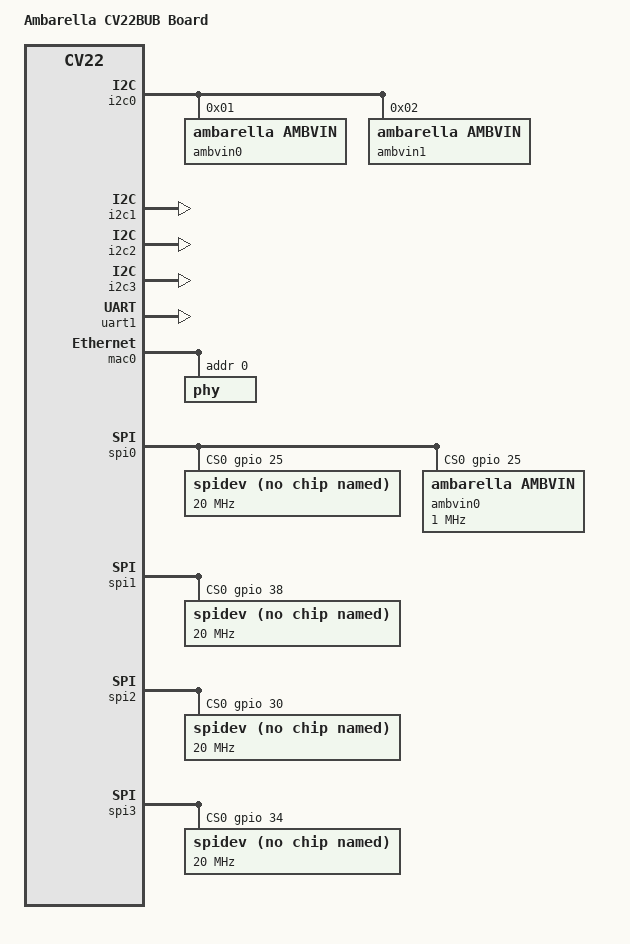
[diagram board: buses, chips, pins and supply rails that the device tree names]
/*
 * Copyright (C) 2013 Ambarella,Inc. - http://www.ambarella.com/
 * Author: Cao Rongrong <rrcao@ambarella.com>
 *
 * This program is free software; you can redistribute it and/or modify
 * it under the terms of the GNU General Public License version 2 as
 * published by the Free Software Foundation.
 */
/dts-v1/;

/include/ "ambarella-cv22-amba-camera.dtsi"

/ {
	model = "Ambarella CV22BUB Board";
	compatible = "ambarella,cv22bub", "ambarella,cv22";

	aliases {
		flexidag_sys = &cv_sys_mem;
		flexidag_rtos = &cv_rtos_mem;
		scheduler = &sub_scheduler;
		dsp_prot_buf = &dsp_prot_buf;
		dsp_prot_cache_buf = &dsp_prot_cache_buf;
		dsp_bin_buf = &dsp_bin_buf;
		dsp_data_buf = &dsp_data_buf;
		dsp = &dsp;
	};

	chosen {
	};

	sub_scheduler: sub_scheduler0 {
		compatible = "ambarella,sub-scheduler";
		interrupts = <0 153 0x4>;
		memory-region = <&cv_sys_mem>;
		memory-region1 = <&cv_rtos_mem>;
	};

	dsp: dspdrv {
		compatible = "ambarella,dspdrv";
		memory-region = <&dsp_prot_buf>;
		memory-region1 = <&dsp_prot_cache_buf>;
		memory-region2 = <&dsp_bin_buf>;
		memory-region3 = <&dsp_data_buf>;
		interrupts = <0 141 0x1 0 142 0x1 0 143 0x1 0 144 0x1>;
        interrupt-names = "vdsp0", "vdsp1", "vdsp2", "vdsp3";

		/* node for vin0 controller */
		dspvin0 {
			compatible = "ambarella,dspvin";
			interrupts = <0 111 0x1 0 112 0x1>;
			interrupt-names = "arm_sof", "arm_last_pixel";
		};

		/* node for vin1 controller */
		dspvin1 {
			compatible = "ambarella,dspvin";
			interrupts = <0 136 0x1 0 137 0x1>;
			interrupt-names = "arm_sof", "arm_last_pixel";
		};

		/* node for vout0 controller */
		dspvout0 {
			compatible = "ambarella,dspvout";
			interrupts = <0 89 0x1>;
			interrupt-names = "arm_vout_a";
		};

		/* node for vout1 controller */
		dspvout1 {
			compatible = "ambarella,dspvout";
			interrupts = <0 88 0x1>;
			interrupt-names = "arm_vout_b";
		};
	};

	reserved-memory {
		device_type = "reserved-memory";
		cv_sys_mem: flexidag_sys {
		};
		cv_rtos_mem: flexidag_rtos {
		};
		dsp_prot_buf: dsp_prot_buf {
		};
		dsp_prot_cache_buf: dsp_prot_cache_buf {
		};
		dsp_bin_buf: dsp_bin_buf {
		};
		dsp_data_buf: dsp_data_buf {
		};
	};

	n_apb@e4000000 {
		i2c0: i2c@e4008000 {
			status = "ok";

			ambvin0@01 {
				compatible = "ambarella,ambvin";
				reg = <0x01>;	/* fake address, will be overwritten in runtime */
			};

			ambvin1@02 {
				compatible = "ambarella,ambvin";
				reg = <0x02>;	/* fake address, will be overwritten in runtime */
			};
		};

		i2c1: i2c@e4009000 {
			status = "ok";
			  };

		i2c2: i2c@e400a000 {
			status = "ok";
		};

		i2c3: i2c@e400b000 {
			status = "ok";
		};
	};

	n_ahb@e0000000 {
		uart1: uart@e0017000 {
			/delete-property/amb,txdma-used;
			/delete-property/amb,rxdma-used;
			/delete-property/dmas;
			/delete-property/dma-names;
			status = "ok";
		};

		sdmmc0: sdmmc0@e0004000 {
			pwr-gpios = <&gpio 109 0x1>;
			v18-gpios = <&gpio 156 0x1>;
		};

		sdmmc2: sdmmc2@e0005000 {
			pwr-gpios = <&gpio 110 0x1>;
			v18-gpios = <&gpio 157 0x1>;
			status = "disabled";
		};

		mac0: ethernet@e000e000 {
			amb,tx-clk-invert;

#if 0		/* case: AHB mdcmdio */
			pinctrl-0 = <&rgmii_pins &ahb_mdio_pins>;
			amb,ahb_mdio_bus;
			amb,ahb-12mhz-div = <1>;
#endif
			phy@0 {
				reg = <0>;
			};
		};

		spi0: spi@e0011000 {
			status = "ok";
			cs-gpios = <&gpio 25 0>;

			spidev@0 {
					compatible = "spidev";
					spi-max-frequency = <20000000>;
					reg = <0>;
			};
			
			ambvin0@0 {
				compatible = "ambarella,ambvin";
				reg = <0>;
				spi-max-frequency = <1000000>;
				spi-cpha;
				spi-cpol;
			};
		};

		spi1: spi@e0012000 {
				status = "ok";
				cs-gpios = <&gpio 38 0>;

				spidev@0 {
						compatible = "spidev";
						spi-max-frequency = <20000000>;
						reg = <0>;
				};
		};

		spi2: spi@e0013000 {
				status = "ok";
				cs-gpios = <&gpio 30 0>;

				spidev@0 {
						compatible = "spidev";
						spi-max-frequency = <20000000>;
						reg = <0>;
				};
		};

		spi3: spi@e0014000 {
				status = "ok";
				cs-gpios = <&gpio 34 0>;

				spidev@0 {
						compatible = "spidev";
						spi-max-frequency = <20000000>;
						reg = <0>;
				};
		};
		
		hdmi@e000b000 {
			amb,i2c-adapter = <2>;
		};
	};

	rct@ed080000 {
		usbphy: usbphy@ed080050 {
			/* high will trigger the ocp interrupt */
			amb,ocp-polarity = <0>;
			pinctrl-names = "default";
			pinctrl-0 = <&usb_host0_pins_a>;
		};
	};

	/delete-node/ iav;
	/delete-node/ bogus_bus;
};

